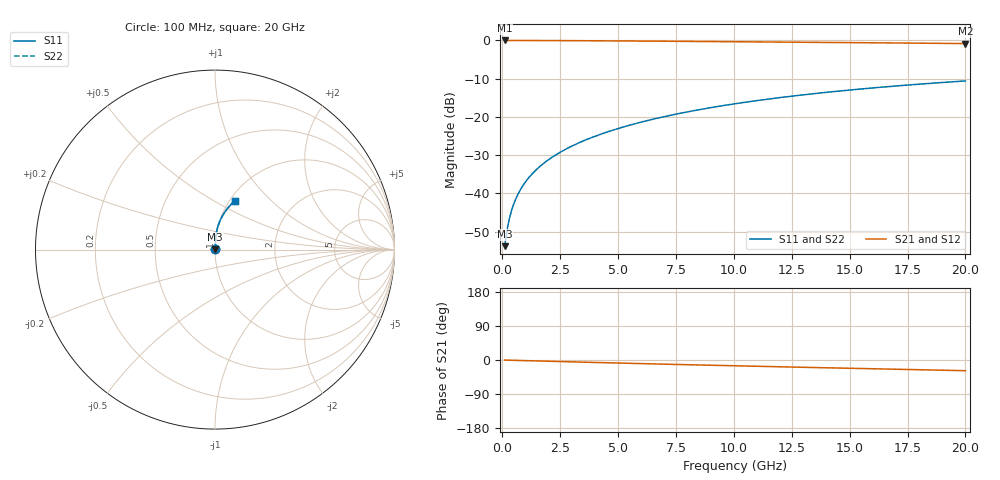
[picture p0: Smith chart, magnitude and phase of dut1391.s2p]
! Touchstone file exported from HFSS 2024.1.0
!  File:  C:/UserFiles/LocalFiles/RDL_TSV_Batchsim/temp_RDL_top_1391_1780367712.aedt
!  Generated:  10:37:27 AM Jun  2, 2026
!  Design:  RDL_top
!  Project:  temp_RDL_top_1391_1780367712
!  Setup:  Setup1
!  Solution:  Sweep
! Variables:
!  dtsv = 10.80580581um
!  hbump = 3um
!  htsv = 68.07um
!  ldown = 100um
!  lrdl = 365.05um
!  p = 40
!  p1 = 55.72um
!  rhole = 1um
!  t = 450um
!  tdown = 3.915915916um
!  trdl = 4.74um
!  wdown = 15.38538539um
!  wrdl = 21.54um
# GHz S MA R 50.000000
! Terminal data exported
! Port[1] = Box2_T1
! Port[2] = Box2_T2
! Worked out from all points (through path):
!   200 points, 100 MHz to 20 GHz, reference 50 ohm
!   highest |S21| = -0.01 dB at 100 MHz (marker M1); lowest = -0.8 dB at 20 GHz (marker M2)
!   group delay of S21, straight-line fit = 3.88 ps
!   lowest |S11| = -53.8 dB at 100 MHz (marker M3), VSWR 1.00, Z = 50.1 + j0.147 ohm
!   |S11| at or under -10 dB: start of sweep to end of sweep
!   |S22| runs from -53.8 to -10.6 dB; largest |S21 - S12| = 4.3e-15
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0.1  0.002041 45.8  0.9986 -0.2  0.9986 -0.2  0.002041 45.8
! Gamma 0 0 0 0
! Port Impedance 50 0 50 0
0.2  0.00326 63.4  0.9985 -0.3  0.9985 -0.3  0.00326 63.4
0.3  0.004606 70.9  0.9984 -0.5  0.9984 -0.5  0.004606 70.9
0.4  0.005978 74.8  0.9983 -0.7  0.9983 -0.7  0.005979 74.8
0.5  0.007351 77.1  0.9982 -0.8  0.9982 -0.8  0.007351 77.2
0.7  0.01007 80.0  0.998 -1.2  0.998 -1.2  0.01007 80.0
0.8  0.01142 80.9  0.9979 -1.3  0.9979 -1.3  0.01142 80.9
1  0.01411 82.3  0.9976 -1.7  0.9976 -1.7  0.01411 82.3
1.2  0.01679 83.3  0.9973 -2.0  0.9973 -2.0  0.01679 83.3
1.4  0.01948 84.1  0.997 -2.3  0.997 -2.3  0.01948 84.1
1.7  0.02353 84.9  0.9964 -2.8  0.9964 -2.8  0.02353 84.9
2  0.0276 85.6  0.9958 -3.3  0.9958 -3.3  0.0276 85.5
2.7  0.03725 86.4  0.9939 -4.5  0.9939 -4.5  0.03725 86.4
3.5  0.04853 86.7  0.9912 -5.7  0.9912 -5.7  0.04853 86.7
4.2  0.05863 86.7  0.9885 -6.8  0.9885 -6.8  0.05863 86.7
5  0.07042 86.4  0.9852 -8.1  0.9852 -8.1  0.07041 86.4
6.8  0.09774 85.1  0.977 -10.7  0.977 -10.7  0.09773 85.1
8.4  0.1226 83.5  0.9692 -13.0  0.9692 -13.0  0.1226 83.4
10.1  0.1493 81.3  0.9609 -15.4  0.9609 -15.4  0.1493 81.3
13.4  0.2004 76.8  0.9443 -19.8  0.9443 -19.8  0.2004 76.8
16.7  0.2494 72.2  0.9271 -24.1  0.9271 -24.1  0.2493 72.2
20  0.2953 67.7  0.9093 -28.2  0.9093 -28.2  0.2953 67.6
